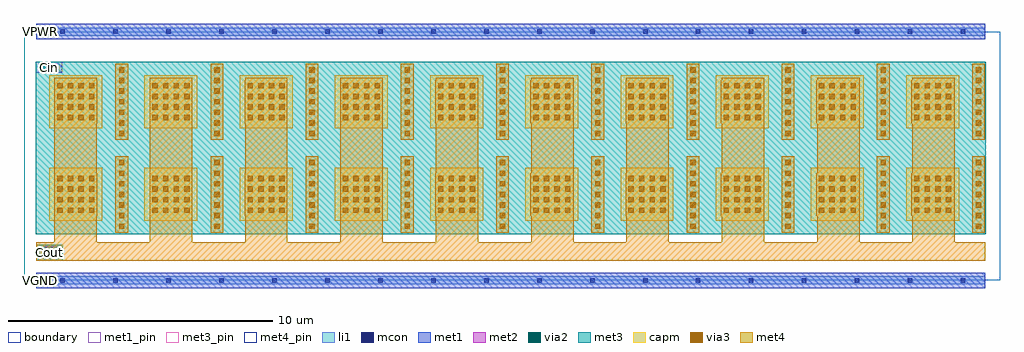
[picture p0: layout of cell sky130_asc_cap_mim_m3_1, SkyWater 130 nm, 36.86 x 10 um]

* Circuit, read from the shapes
.subckt sky130_asc_cap_mim_m3_1 Cin Cout VGND VPWR
XC1 Cout Cin sky130_fd_pr__cap_mim_m3_1 w=2 l=2 m=20
.ends

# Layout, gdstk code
import gdstk
lib = gdstk.Library(unit=1e-6, precision=1e-09)
def R(c, l, rs):  # rectangles x0, y0, x1, y1
    for r in rs: c.add(gdstk.rectangle(r[:2], r[2:], *l))
def A(c, l, x, y, w, h, nx, ny, dx, dy):  # array of equal rectangles
    R(c, l, [(x+i*dx, y+j*dy, x+i*dx+w, y+j*dy+h) for i in range(nx) for j in range(ny)])
li1 = (67, 20)
mcon = (67, 44)
met1_pin = (68, 16)
met1 = (68, 20)
met2 = (69, 20)
via2 = (69, 44)
met3_pin = (70, 16)
met3 = (70, 20)
via3 = (70, 44)
met4_pin = (71, 16)
met4 = (71, 20)
capm = (89, 44)
boundary = (235, 4)

sky130_asc_cap_mim_m3_1 = lib.new_cell('sky130_asc_cap_mim_m3_1')
R(sky130_asc_cap_mim_m3_1, li1, [(0.46,-0.15,36.3,0.15), (0.46,9.25,36.3,9.55)])
A(sky130_asc_cap_mim_m3_1, mcon, 1.375, -0.085, 0.17, 0.17, 18, 2, 2, 9.4)
R(sky130_asc_cap_mim_m3_1, met1_pin, [(0.46,-0.15,0.76,0.15), (0.46,9.25,0.76,9.55)])
R(sky130_asc_cap_mim_m3_1, met1, [(0.46,-0.3,36.3,0.3), (0.46,9.1,36.3,9.7)])
R(sky130_asc_cap_mim_m3_1, met2, [(0.56,0.8,1.36,1.3), (0.45,7.85,1.45,8.25)])
R(sky130_asc_cap_mim_m3_1, via2, [(0.86,0.95,1.06,1.15), (0.65,7.95,0.85,8.15), (1.05,7.95,1.25,8.15)])
R(sky130_asc_cap_mim_m3_1, met3_pin, [(0.55,7.9,1.35,8.2)])
R(sky130_asc_cap_mim_m3_1, met3, [(0.46,0.75,1.46,1.35), (0.45,1.75,36.31,8.25)])
A(sky130_asc_cap_mim_m3_1, via3, 3.59, 1.95, 0.2, 0.2, 10, 7, 3.595, 0.4)
A(sky130_asc_cap_mim_m3_1, via3, 1.255, 2.55, 0.2, 0.2, 4, 4, 0.4, 0.4)
A(sky130_asc_cap_mim_m3_1, via3, 4.85, 2.55, 0.2, 0.2, 4, 4, 0.4, 0.4)
A(sky130_asc_cap_mim_m3_1, via3, 8.445, 2.55, 0.2, 0.2, 4, 4, 0.4, 0.4)
A(sky130_asc_cap_mim_m3_1, via3, 12.04, 2.55, 0.2, 0.2, 4, 4, 0.4, 0.4)
A(sky130_asc_cap_mim_m3_1, via3, 15.635, 2.55, 0.2, 0.2, 4, 4, 0.4, 0.4)
A(sky130_asc_cap_mim_m3_1, via3, 19.23, 2.55, 0.2, 0.2, 4, 4, 0.4, 0.4)
A(sky130_asc_cap_mim_m3_1, via3, 22.825, 2.55, 0.2, 0.2, 4, 4, 0.4, 0.4)
A(sky130_asc_cap_mim_m3_1, via3, 26.42, 2.55, 0.2, 0.2, 4, 4, 0.4, 0.4)
A(sky130_asc_cap_mim_m3_1, via3, 30.015, 2.55, 0.2, 0.2, 4, 4, 0.4, 0.4)
A(sky130_asc_cap_mim_m3_1, via3, 33.61, 2.55, 0.2, 0.2, 4, 4, 0.4, 0.4)
A(sky130_asc_cap_mim_m3_1, via3, 3.59, 5.45, 0.2, 0.2, 10, 7, 3.595, 0.4)
A(sky130_asc_cap_mim_m3_1, via3, 1.255, 6.05, 0.2, 0.2, 4, 4, 0.4, 0.4)
A(sky130_asc_cap_mim_m3_1, via3, 4.85, 6.05, 0.2, 0.2, 4, 4, 0.4, 0.4)
A(sky130_asc_cap_mim_m3_1, via3, 8.445, 6.05, 0.2, 0.2, 4, 4, 0.4, 0.4)
A(sky130_asc_cap_mim_m3_1, via3, 12.04, 6.05, 0.2, 0.2, 4, 4, 0.4, 0.4)
A(sky130_asc_cap_mim_m3_1, via3, 15.635, 6.05, 0.2, 0.2, 4, 4, 0.4, 0.4)
A(sky130_asc_cap_mim_m3_1, via3, 19.23, 6.05, 0.2, 0.2, 4, 4, 0.4, 0.4)
A(sky130_asc_cap_mim_m3_1, via3, 22.825, 6.05, 0.2, 0.2, 4, 4, 0.4, 0.4)
A(sky130_asc_cap_mim_m3_1, via3, 26.42, 6.05, 0.2, 0.2, 4, 4, 0.4, 0.4)
A(sky130_asc_cap_mim_m3_1, via3, 30.015, 6.05, 0.2, 0.2, 4, 4, 0.4, 0.4)
A(sky130_asc_cap_mim_m3_1, via3, 33.61, 6.05, 0.2, 0.2, 4, 4, 0.4, 0.4)
R(sky130_asc_cap_mim_m3_1, via3, [(0.66,0.95,0.86,1.15), (1.06,0.95,1.26,1.15)])
R(sky130_asc_cap_mim_m3_1, met4_pin, [(0.66,0.85,1.26,1.25)])
A(sky130_asc_cap_mim_m3_1, met4, 1.15, 1.45, 1.6, 0.995, 10, 1, 3.6, 0)
A(sky130_asc_cap_mim_m3_1, met4, 3.45, 1.81, 0.48, 2.88, 10, 2, 3.595, 3.5)
A(sky130_asc_cap_mim_m3_1, met4, 1.15, 2.445, 1.61, 1.61, 3, 2, 3.595, 3.5)
A(sky130_asc_cap_mim_m3_1, met4, 1.15, 4.055, 1.6, 1.89, 10, 1, 3.6, 0)
A(sky130_asc_cap_mim_m3_1, met4, 1.15, 7.555, 1.6, 0.095, 10, 1, 3.6, 0)
R(sky130_asc_cap_mim_m3_1, met4, [(0.46,0.75,36.3,1.45), (11.935,2.445,13.55,4.055), (15.53,2.445,17.15,4.055), (19.125,2.445,20.75,4.055), (22.72,2.445,24.35,4.055), (26.315,2.445,27.95,4.055), (29.91,2.445,31.55,4.055), (33.505,2.445,35.15,4.055), (11.935,5.945,13.55,7.555), (15.53,5.945,17.15,7.555), (19.125,5.945,20.75,7.555), (22.72,5.945,24.35,7.555), (26.315,5.945,27.95,7.555), (29.91,5.945,31.55,7.555), (33.505,5.945,35.15,7.555)])
A(sky130_asc_cap_mim_m3_1, capm, 0.955, 2.25, 2, 2, 10, 2, 3.595, 3.5)
R(sky130_asc_cap_mim_m3_1, boundary, [(0,0,36.855,9.4)])
sky130_asc_cap_mim_m3_1.add(gdstk.Label('Cin', (0.95,8.05), layer=70, texttype=16))
sky130_asc_cap_mim_m3_1.add(gdstk.Label('Cout', (0.96,1.05), layer=71, texttype=16))
sky130_asc_cap_mim_m3_1.add(gdstk.Label('VPWR', (0.61,9.4), layer=68, texttype=16))
sky130_asc_cap_mim_m3_1.add(gdstk.Label('VGND', (0.61,0), layer=68, texttype=16))

lib.write_gds('sky130_asc_cap_mim_m3_1.gds')
